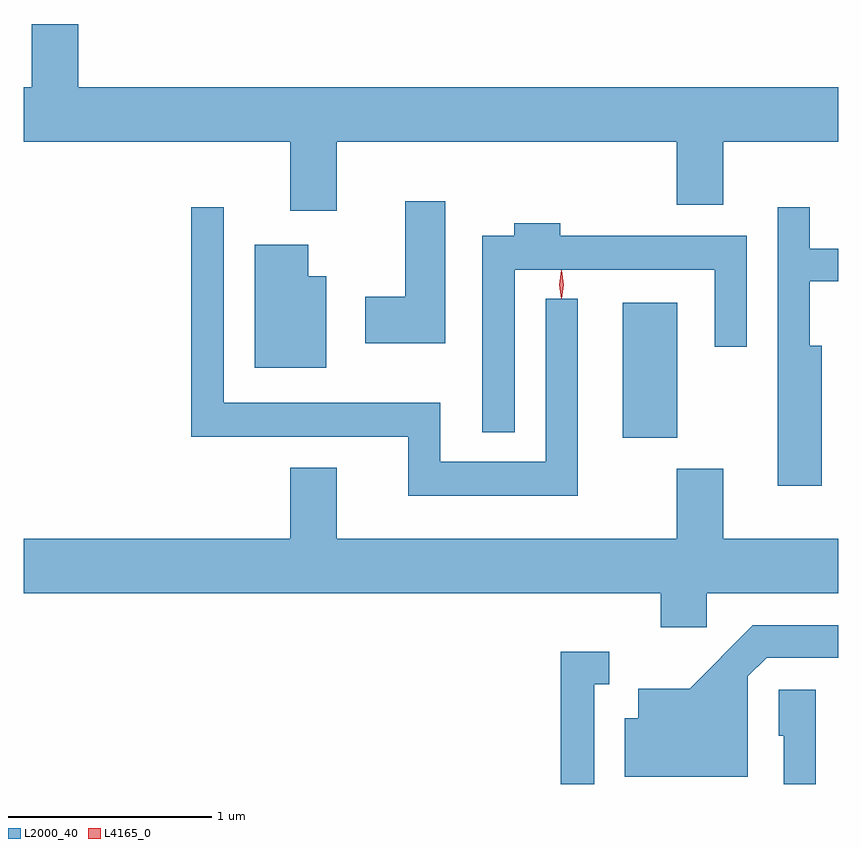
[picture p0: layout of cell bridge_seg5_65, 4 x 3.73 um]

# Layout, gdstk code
import gdstk
lib = gdstk.Library(unit=1e-6, precision=1e-09)
def R(c, l, rs):  # rectangles x0, y0, x1, y1
    for r in rs: c.add(gdstk.rectangle(r[:2], r[2:], *l))
def P(c, l, *ps):  # polygons
    for p in ps: c.add(gdstk.Polygon(p, *l))
L2000_40 = (2000, 40)
L4165_0 = (4165, 0)

bridge_seg5_65 = lib.new_cell('bridge_seg5_65')
R(bridge_seg5_65, L2000_40, [(1271.976,1470.881,1272.244,1471.544)])
P(bridge_seg5_65, L2000_40, [(1270.569,1472.336),(1272.241,1472.336),(1272.241,1472.026),(1272.469,1472.026),(1272.469,1472.336),(1273.033,1472.336),(1273.033,1472.604),(1269.299,1472.604),(1269.299,1472.914),(1269.071,1472.914),(1269.071,1472.604),(1269.033,1472.604),(1269.033,1472.336),(1270.341,1472.336),(1270.341,1471.996),(1270.569,1471.996)],
  [(1271.104,1472.044),(1270.906,1472.044),(1270.906,1471.574),(1270.711,1471.574),(1270.711,1471.346),(1271.104,1471.346)],
  [(1272.954,1471.334),(1272.894,1471.334),(1272.894,1471.651),(1273.033,1471.651),(1273.033,1471.809),(1272.894,1471.809),(1272.894,1472.013),(1272.736,1472.013),(1272.736,1470.646),(1272.954,1470.646)],
  [(1271.754,1471.563),(1271.596,1471.563),(1271.596,1470.764),(1271.079,1470.764),(1271.079,1471.054),(1270.014,1471.054),(1270.014,1472.013),(1269.856,1472.013),(1269.856,1470.886),(1270.921,1470.886),(1270.921,1470.596),(1271.754,1470.596)],
  [(1271.444,1471.706),(1272.426,1471.706),(1272.426,1471.328),(1272.584,1471.328),(1272.584,1471.874),(1271.669,1471.874),(1271.669,1471.934),(1271.441,1471.934),(1271.441,1471.874),(1271.286,1471.874),(1271.286,1470.908),(1271.444,1470.908)],
  [(1270.519,1471.674),(1270.429,1471.674),(1270.429,1471.829),(1270.166,1471.829),(1270.166,1471.226),(1270.519,1471.226)],
  [(1272.389,1470.116),(1273.033,1470.116),(1273.033,1470.384),(1272.469,1470.384),(1272.469,1470.729),(1272.241,1470.729),(1272.241,1470.384),(1270.569,1470.384),(1270.569,1470.734),(1270.341,1470.734),(1270.341,1470.384),(1269.033,1470.384),(1269.033,1470.116),(1272.161,1470.116),(1272.161,1469.951),(1272.389,1469.951)],
  [(1272.589,1469.709),(1272.682,1469.801),(1273.033,1469.801),(1273.033,1469.959),(1272.614,1469.959),(1272.304,1469.649),(1272.051,1469.649),(1272.051,1469.504),(1271.986,1469.504),(1271.986,1469.216),(1272.589,1469.216)],
  [(1271.834,1469.671),(1271.908,1469.671),(1271.908,1469.829),(1271.671,1469.829),(1271.671,1469.18),(1271.834,1469.18)],
  [(1272.924,1469.644),(1272.741,1469.644),(1272.741,1469.416),(1272.766,1469.416),(1272.766,1469.18),(1272.924,1469.18)])
P(bridge_seg5_65, L4165_0, [(1271.674,1471.564),(1271.674,1471.564),(1271.664,1471.634),(1271.674,1471.703),(1271.674,1471.703),(1271.675,1471.703),(1271.684,1471.634),(1271.675,1471.564)])

lib.write_gds('bridge_seg5_65.gds')
